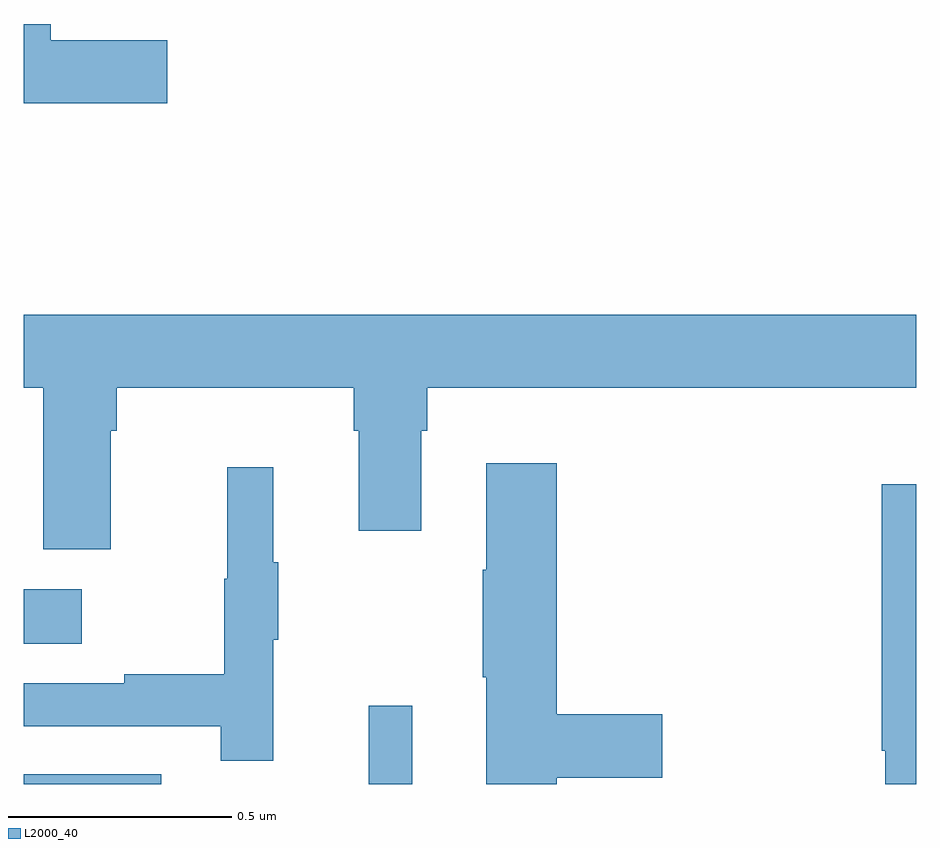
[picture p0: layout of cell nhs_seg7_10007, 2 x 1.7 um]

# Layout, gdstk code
import gdstk
lib = gdstk.Library(unit=1e-6, precision=1e-09)
def R(c, l, rs):  # rectangles x0, y0, x1, y1
    for r in rs: c.add(gdstk.rectangle(r[:2], r[2:], *l))
def P(c, l, *ps):  # polygons
    for p in ps: c.add(gdstk.Polygon(p, *l))
L2000_40 = (2000, 40)

nhs_seg7_10007 = lib.new_cell('nhs_seg7_10007')
R(nhs_seg7_10007, L2000_40, [(244,1061,244.308,1061.022), (244.773,1061,244.87,1061.176), (244,1061.315,244.129,1061.437)])
P(nhs_seg7_10007, L2000_40, [(244.321,1062.668),(244.06,1062.668),(244.06,1062.704),(244,1062.704),(244,1062.526),(244.321,1062.526)],
  [(244.195,1061.792),(244.208,1061.792),(244.208,1061.888),(244.739,1061.888),(244.739,1061.792),(244.751,1061.792),(244.751,1061.568),(244.891,1061.568),(244.891,1061.792),(244.904,1061.792),(244.904,1061.888),(246,1061.888),(246,1062.052),(244,1062.052),(244,1061.888),(244.043,1061.888),(244.043,1061.526),(244.195,1061.526)],
  [(245.195,1061.014),(245.431,1061.014),(245.431,1061.156),(245.195,1061.156),(245.195,1061.719),(245.036,1061.719),(245.036,1061.48),(245.029,1061.48),(245.029,1061.239),(245.036,1061.239),(245.036,1061),(245.195,1061)],
  [(244.559,1061.323),(244.57,1061.323),(244.57,1061.497),(244.559,1061.497),(244.559,1061.71),(244.456,1061.71),(244.456,1061.46),(244.449,1061.46),(244.449,1061.246),(244.225,1061.246),(244.225,1061.226),(244,1061.226),(244,1061.13),(244.441,1061.13),(244.441,1061.052),(244.559,1061.052)],
  [(246,1061.672),(245.923,1061.672),(245.923,1061.074),(245.931,1061.074),(245.931,1061),(246,1061)])

lib.write_gds('nhs_seg7_10007.gds')
